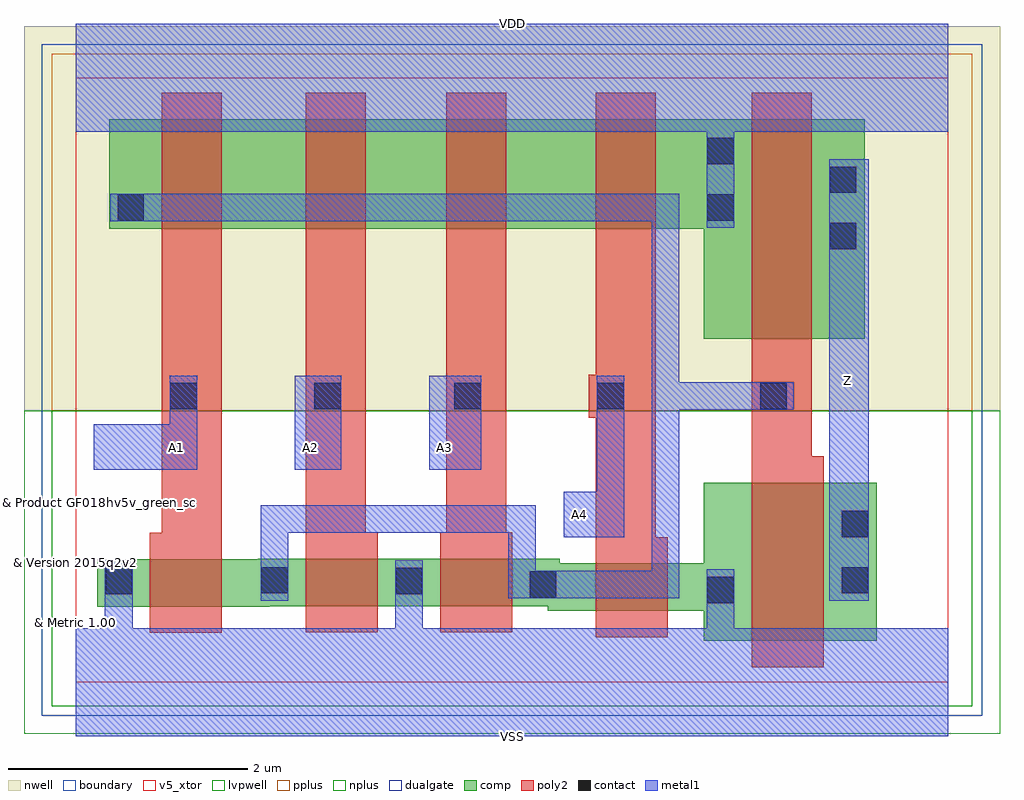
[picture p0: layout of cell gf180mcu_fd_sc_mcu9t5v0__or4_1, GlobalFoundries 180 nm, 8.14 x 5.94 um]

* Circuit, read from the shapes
.subckt gf180mcu_fd_sc_mcu9t5v0__or4_1 A1 A2 A3 A4 VDD VSS Z
XM1 n1 A1 VSS VSUBS nfet_05v0 w=0.395u l=0.6u
XM2 VSS A2 n1 VSUBS nfet_05v0 w=0.395u l=0.6u
XM3 n1 A3 VSS VSUBS nfet_05v0 w=0.395u l=0.6u
XM4 VSS A4 n1 VSUBS nfet_05v0 w=0.395u l=0.6u
XM5 Z n1 VSS VSUBS nfet_05v0 w=1.32u l=0.6u
XM6 n2 A1 n1 n3 pfet_05v0 w=0.915u l=0.5u
XM7 n4 A2 n2 n3 pfet_05v0 w=0.915u l=0.5u
XM8 n5 A3 n4 n3 pfet_05v0 w=0.915u l=0.5u
XM9 VDD A4 n5 n3 pfet_05v0 w=0.915u l=0.5u
XM10 Z n1 VDD n3 pfet_05v0 w=1.83u l=0.5u
.ends

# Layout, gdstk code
import gdstk
lib = gdstk.Library(unit=1e-6, precision=1e-09)
def R(c, l, rs):  # rectangles x0, y0, x1, y1
    for r in rs: c.add(gdstk.rectangle(r[:2], r[2:], *l))
def P(c, l, *ps):  # polygons
    for p in ps: c.add(gdstk.Polygon(p, *l))
boundary = (0, 0)
nwell = (21, 0)
comp = (22, 0)
poly2 = (30, 0)
pplus = (31, 0)
nplus = (32, 0)
contact = (33, 0)
metal1 = (34, 0)
dualgate = (55, 0)
v5_xtor = (112, 1)
lvpwell = (204, 0)

gf180mcu_fd_sc_mcu9t5v0_ = lib.new_cell('gf180mcu_fd_sc_mcu9t5v0__or4_1')
R(gf180mcu_fd_sc_mcu9t5v0_, boundary, [(0,0,7.28,5.04)])
R(gf180mcu_fd_sc_mcu9t5v0_, nwell, [(-0.43,2.265,7.71,5.47)])
P(gf180mcu_fd_sc_mcu9t5v0_, comp, [(5.24,2.865),(5.24,3.78),(0.28,3.78),(0.28,4.695),(6.58,4.695),(6.58,2.865)],
  [(5.24,0.345),(5.24,0.595),(3.94,0.595),(3.94,0.635),(1.62,0.635),(1.62,0.63),(0.18,0.63),(0.18,1.025),(1.52,1.025),(1.52,1.03),(4.04,1.03),(4.04,0.99),(5.24,0.99),(5.24,1.665),(6.68,1.665),(6.68,0.345)])
P(gf180mcu_fd_sc_mcu9t5v0_, poly2, [(0.62,0.41),(0.62,1.245),(0.72,1.245),(0.72,4.915),(1.22,4.915),(1.22,0.41)],
  [(1.92,0.415),(1.92,4.915),(2.42,4.915),(2.42,1.25),(2.52,1.25),(2.52,0.415)],
  [(3.04,0.415),(3.04,1.25),(3.09,1.25),(3.09,4.915),(3.59,4.915),(3.59,1.25),(3.64,1.25),(3.64,0.415)],
  [(4.34,0.375),(4.34,2.205),(4.28,2.205),(4.28,2.565),(4.34,2.565),(4.34,4.915),(4.84,4.915),(4.84,1.21),(4.94,1.21),(4.94,0.375)],
  [(5.64,0.125),(5.64,4.915),(6.14,4.915),(6.14,1.885),(6.24,1.885),(6.24,0.125)])
R(gf180mcu_fd_sc_mcu9t5v0_, pplus, [(-0.2,2.265,7.48,5.24)])
R(gf180mcu_fd_sc_mcu9t5v0_, nplus, [(-0.2,-0.2,7.48,2.265)])
R(gf180mcu_fd_sc_mcu9t5v0_, contact, [(5.27,0.66,5.49,0.88), (3.79,0.705,4.01,0.925), (0.25,0.735,0.47,0.955), (2.67,0.735,2.89,0.955), (1.55,0.74,1.77,0.96), (6.39,0.74,6.61,0.96), (6.39,1.21,6.61,1.43), (0.79,2.275,1.01,2.495), (1.99,2.275,2.21,2.495), (3.16,2.275,3.38,2.495), (4.35,2.275,4.57,2.495), (5.71,2.275,5.93,2.495), (6.29,3.61,6.51,3.83), (0.35,3.85,0.57,4.07), (5.27,3.85,5.49,4.07), (6.29,4.08,6.51,4.3), (5.27,4.32,5.49,4.54)])
R(gf180mcu_fd_sc_mcu9t5v0_, metal1, [(6.285,0.68,6.615,4.36), (1.83,1.77,2.215,2.555), (2.95,1.77,3.385,2.555)])
P(gf180mcu_fd_sc_mcu9t5v0_, metal1, [(0.15,1.77),(0.15,2.15),(0.785,2.15),(0.785,2.555),(1.015,2.555),(1.015,1.77)],
  [(4.07,1.21),(4.07,1.59),(4.345,1.59),(4.345,2.555),(4.575,2.555),(4.575,1.21)],
  [(1.545,0.68),(1.545,1.475),(3.84,1.475),(3.84,0.93),(4.805,0.93),(4.805,3.845),(0.29,3.845),(0.29,4.075),(5.035,4.075),(5.035,2.5),(5.99,2.5),(5.99,2.27),(5.035,2.27),(5.035,0.7),(3.61,0.7),(3.61,1.245),(1.775,1.245),(1.775,0.68)],
  [(0,-0.45),(0,0.45),(0.245,0.45),(0.245,1.015),(0.475,1.015),(0.475,0.45),(2.665,0.45),(2.665,1.015),(2.895,1.015),(2.895,0.45),(5.265,0.45),(5.265,0.94),(5.495,0.94),(5.495,0.45),(7.28,0.45),(7.28,-0.45)],
  [(5.265,3.79),(5.265,4.59),(0,4.59),(0,5.49),(7.28,5.49),(7.28,4.59),(5.495,4.59),(5.495,3.79)])
R(gf180mcu_fd_sc_mcu9t5v0_, dualgate, [(-0.28,-0.28,7.56,5.32)])
R(gf180mcu_fd_sc_mcu9t5v0_, v5_xtor, [(0,0,7.28,5.04)])
R(gf180mcu_fd_sc_mcu9t5v0_, lvpwell, [(-0.43,-0.43,7.71,2.265)])
gf180mcu_fd_sc_mcu9t5v0_.add(gdstk.Label('A1', (0.84,1.96), layer=34, texttype=10))
gf180mcu_fd_sc_mcu9t5v0_.add(gdstk.Label('A2', (1.96,1.96), layer=34, texttype=10))
gf180mcu_fd_sc_mcu9t5v0_.add(gdstk.Label('A3', (3.08,1.96), layer=34, texttype=10))
gf180mcu_fd_sc_mcu9t5v0_.add(gdstk.Label('A4', (4.2,1.4), layer=34, texttype=10))
gf180mcu_fd_sc_mcu9t5v0_.add(gdstk.Label('VDD', (3.64,5.49), layer=34, texttype=10))
gf180mcu_fd_sc_mcu9t5v0_.add(gdstk.Label('VSS', (3.64,-0.45), layer=34, texttype=10))
gf180mcu_fd_sc_mcu9t5v0_.add(gdstk.Label('Z', (6.44,2.52), layer=34, texttype=10))
gf180mcu_fd_sc_mcu9t5v0_.add(gdstk.Label('& Vendor GLOBALFOUNDRIES', (0,2), layer=63, texttype=63))
gf180mcu_fd_sc_mcu9t5v0_.add(gdstk.Label('& Product GF018hv5v_green_sc9', (0,1.5), layer=63, texttype=63))
gf180mcu_fd_sc_mcu9t5v0_.add(gdstk.Label('& Version 2015q2v2', (0,1), layer=63, texttype=63))
gf180mcu_fd_sc_mcu9t5v0_.add(gdstk.Label('& Metric 1.00', (0,0.5), layer=63, texttype=63))

lib.write_gds('gf180mcu_fd_sc_mcu9t5v0__or4_1.gds')
